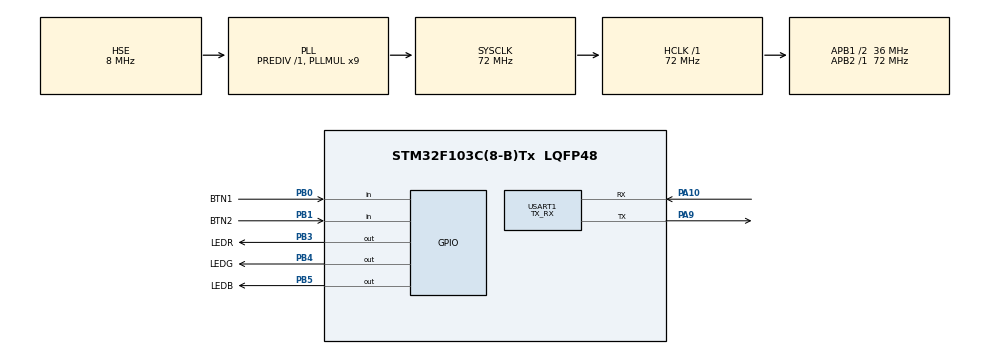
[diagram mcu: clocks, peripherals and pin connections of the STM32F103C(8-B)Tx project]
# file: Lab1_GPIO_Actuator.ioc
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Mcu.Family=STM32F1
Mcu.Name=STM32F103C(8-B)Tx
Mcu.Package=LQFP48
Mcu.UserConstants=led_TIM_counter,9
NVIC.FLASH_IRQn=true\:0\:0\:false\:false\:true\:true\:true\:true
NVIC.PriorityGroup=NVIC_PRIORITYGROUP_4
NVIC.TIM3_IRQn=true\:0\:0\:true\:false\:true\:true\:true\:true
NVIC.TIM4_IRQn=true\:0\:0\:true\:false\:true\:true\:true\:true
NVIC.USART1_IRQn=true\:0\:0\:true\:false\:true\:true\:true\:true
PA10.Mode=Asynchronous
PA10.Signal=USART1_RX
PA13.Mode=Serial_Wire
PA13.Signal=SYS_JTMS-SWDIO
PA14.Mode=Serial_Wire
PA14.Signal=SYS_JTCK-SWCLK
PA9.Mode=Asynchronous
PA9.Signal=USART1_TX
PB0.GPIO_Label=BTN1
PB0.GPIO_PuPd=GPIO_PULLUP
PB0.Signal=GPIO_Input
PB1.GPIO_Label=BTN2
PB1.GPIO_PuPd=GPIO_PULLUP
PB1.Signal=GPIO_Input
PB3.GPIO_Label=LEDR
PB3.GPIO_Speed=GPIO_SPEED_FREQ_HIGH
PB3.Signal=GPIO_Output
PB4.GPIO_Label=LEDG
PB4.GPIO_Speed=GPIO_SPEED_FREQ_HIGH
PB4.Signal=GPIO_Output
PB5.GPIO_Label=LEDB
PB5.GPIO_Speed=GPIO_SPEED_FREQ_HIGH
PB5.Signal=GPIO_Output
PD0-OSC_IN.Mode=HSE-External-Oscillator
PD0-OSC_IN.Signal=RCC_OSC_IN
PD1-OSC_OUT.Mode=HSE-External-Oscillator
PD1-OSC_OUT.Signal=RCC_OSC_OUT
ProjectManager.HeapSize=0x200
ProjectManager.StackSize=0x400
ProjectManager.TargetToolchain=STM32CubeIDE
RCC.AHBFreq_Value=72000000
RCC.APB1CLKDivider=RCC_HCLK_DIV2
RCC.APB1Freq_Value=36000000
RCC.APB1TimFreq_Value=72000000
RCC.APB2Freq_Value=72000000
RCC.APB2TimFreq_Value=72000000
RCC.HCLKFreq_Value=72000000
RCC.PLLMUL=RCC_PLL_MUL9
RCC.PLLSourceVirtual=RCC_PLLSOURCE_HSE
RCC.SYSCLKFreq_VALUE=72000000
RCC.SYSCLKSource=RCC_SYSCLKSOURCE_PLLCLK
RCC.USBFreq_Value=72000000
TIM3.AutoReloadPreload=TIM_AUTORELOAD_PRELOAD_ENABLE
TIM3.Period=led_TIM_counter
TIM3.Prescaler=3599
TIM4.AutoReloadPreload=TIM_AUTORELOAD_PRELOAD_ENABLE
TIM4.Period=led_TIM_counter
TIM4.Prescaler=3599
USART1.Mode=MODE_TX_RX
USART1.VirtualMode=VM_ASYNC
VP_TIM3_VS_ClockSourceINT.Mode=Internal
VP_TIM4_VS_ClockSourceINT.Mode=Internal
board=custom

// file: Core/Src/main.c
/* USER CODE BEGIN Header */
/**
  ******************************************************************************
  * @file           : main.c
  * @brief          : Main program body
  ******************************************************************************
  * @attention
  *
  * Copyright (c) 2023 STMicroelectronics.
  * All rights reserved.
  *
  * This software is licensed under terms that can be found in the LICENSE file
  * in the root directory of this software component.
  * If no LICENSE file comes with this software, it is provided AS-IS.
  *
  ******************************************************************************
  */
/* USER CODE END Header */
#include "main.h"

/* USER CODE BEGIN Includes */
#include "stdio.h"
#include "string.h"
#include "button.h"
//#include "led.h" - co the se co them thu vien LED
/* USER CODE END Includes */

/* USER CODE BEGIN PD */
//khai bao trang thai hieu ung led
typedef enum
{
	LED_BLINK_ORIGIN,
	LED_BLINK_SEQ,
	LED_BLINK_ALTER,
} Led_Effect_Status;
/* USER CODE END PD */

TIM_HandleTypeDef htim3;
TIM_HandleTypeDef htim4;

UART_HandleTypeDef huart1;

/* USER CODE BEGIN PV */
//---- button handle variable ----
Button_Typedef BTN1, BTN2;

//khai bao bien luu trang thai den
Led_Effect_Status led_eff_state;

//----- UART com debug variable -----
uint8_t Tx_Buffer[100]; //buffer truyen di chua gia tri chu ky hien tai cua LED + che do hien tai cua mode led effect
//---- led_time_cycle [min:max] variable + divine time (pwm)----
uint16_t max_cycle_led_time = 2000, min_cycle_led_time = 0;
uint16_t divine_time_val = 0; //bien dung de luu gia tri chia deu thoi gian hieu ung led (bam xung - pwm thu cong)

//---- Led counter effect variable -----
uint8_t count_led_alt = 0, count_led_seq = 0, count_led_blink = 0;
//---- Led counter effect variable -----
uint8_t long_press_detect = 0;
uint8_t cycle_change_mode = 0; //mode = 0: dec mode = 1 inc

//----timer count ----
uint16_t is_press_time_count = 0; //button press timer count (for longpress support purpose)
uint16_t led_timer_cnt = 0;		//timer count for led trasition time
//--------------------

/* USER CODE END PV */

void SystemClock_Config(void);
static void MX_GPIO_Init(void);
static void MX_USART1_UART_Init(void);
static void MX_TIM3_Init(void);
static void MX_TIM4_Init(void);
/* USER CODE BEGIN PFP */
void led_blink_origin(void); //effect 1
void led_blink_sequence(void); //effect 2
void led_blink_alternate(void); //effect 3

void button_shortpressing_callback_500ms(Button_Typedef *ButtonX);
void button_longpressing_callback_500ms(Button_Typedef *ButtonX);

void time_cycle_inc_callback(void);
void time_cycle_dec_callback(void);
/* USER CODE END PFP */

/* USER CODE BEGIN 0 */

void button_shortpressing_callback_500ms(Button_Typedef *ButtonX)
{
	if(ButtonX == &BTN1)
	{
		time_cycle_dec_callback();
	} else if (ButtonX == &BTN2)
	{
		switch(led_eff_state)
			{
				case LED_BLINK_ORIGIN:
					led_eff_state = LED_BLINK_SEQ;
				break;
				case LED_BLINK_SEQ:
					led_eff_state = LED_BLINK_ALTER;
				break;
				case LED_BLINK_ALTER:
					led_eff_state = LED_BLINK_ORIGIN;
				break;
			}
	}
}

void button_longpressing_callback_500ms(Button_Typedef *ButtonX)
{
	if(ButtonX == &BTN1){
		cycle_change_mode = 0;
		long_press_detect = ButtonX->is_long_press;
	} else if(ButtonX == &BTN2)
	{
		cycle_change_mode = 1;
		long_press_detect = ButtonX->is_long_press;
	}
}

void time_cycle_inc_callback(void)
{
	if(max_cycle_led_time == 2000)
	{
		max_cycle_led_time = 0;
	}
	max_cycle_led_time += 100;
}

void time_cycle_dec_callback(void)
{
	if(max_cycle_led_time == 0)
	{
		max_cycle_led_time = 2000;
	}
	max_cycle_led_time -= 100;
}

void led_blink_origin(void) //Callib fnc
{
	if(count_led_blink == 0){
		HAL_GPIO_WritePin(GPIOB, GPIO_PIN_3, GPIO_PIN_SET);
		HAL_GPIO_WritePin(GPIOB, GPIO_PIN_4, GPIO_PIN_SET);
		HAL_GPIO_WritePin(GPIOB, GPIO_PIN_5, GPIO_PIN_SET);
		count_led_blink = 1;
	} else if (count_led_blink == 1){
		HAL_GPIO_WritePin(GPIOB, GPIO_PIN_3, GPIO_PIN_RESET);
		HAL_GPIO_WritePin(GPIOB, GPIO_PIN_4, GPIO_PIN_RESET);
		HAL_GPIO_WritePin(GPIOB, GPIO_PIN_5, GPIO_PIN_RESET);
		count_led_blink = 0;
	}
}

void led_blink_sequence(void) //Callib fnc
{
	if(count_led_seq == 0)
	{
		HAL_GPIO_WritePin(GPIOB, GPIO_PIN_3, GPIO_PIN_SET);
		HAL_GPIO_WritePin(GPIOB, GPIO_PIN_4, GPIO_PIN_SET);
		HAL_GPIO_WritePin(GPIOB, GPIO_PIN_5, GPIO_PIN_SET);
		count_led_seq = 1;
	} else if(count_led_seq == 1)
	{
		HAL_GPIO_WritePin(GPIOB, GPIO_PIN_3, GPIO_PIN_RESET);
		HAL_GPIO_WritePin(GPIOB, GPIO_PIN_4, GPIO_PIN_SET);
		HAL_GPIO_WritePin(GPIOB, GPIO_PIN_5, GPIO_PIN_SET);
		count_led_seq = 2;
	} else if (count_led_seq == 2)
	{
		HAL_GPIO_WritePin(GPIOB, GPIO_PIN_3, GPIO_PIN_RESET);
		HAL_GPIO_WritePin(GPIOB, GPIO_PIN_4, GPIO_PIN_RESET);
		HAL_GPIO_WritePin(GPIOB, GPIO_PIN_5, GPIO_PIN_SET);
		count_led_seq = 3;
	} else if (count_led_seq == 3)
	{
		HAL_GPIO_WritePin(GPIOB, GPIO_PIN_3, GPIO_PIN_RESET);
		HAL_GPIO_WritePin(GPIOB, GPIO_PIN_4, GPIO_PIN_RESET);
		HAL_GPIO_WritePin(GPIOB, GPIO_PIN_5, GPIO_PIN_RESET);
		count_led_seq = 0;
	}
}

void led_blink_alternate(void) //Callib fnc
{
	if(count_led_alt == 0)
	{
		HAL_GPIO_WritePin(GPIOB, GPIO_PIN_3,GPIO_PIN_SET); //off
		HAL_GPIO_WritePin(GPIOB, GPIO_PIN_4,GPIO_PIN_RESET); //on
		HAL_GPIO_WritePin(GPIOB, GPIO_PIN_5,GPIO_PIN_SET); //off
		count_led_alt = 1;
	} else if (count_led_alt == 1)
	{
		HAL_GPIO_WritePin(GPIOB, GPIO_PIN_3,GPIO_PIN_RESET); //on
		HAL_GPIO_WritePin(GPIOB, GPIO_PIN_4,GPIO_PIN_SET); //off
		HAL_GPIO_WritePin(GPIOB, GPIO_PIN_5,GPIO_PIN_RESET); //on
		count_led_alt = 0;
	}
}

/* USER CODE END 0 */

int main(void)
{

  /* MCU Configuration--------------------------------------------------------*/

  /* Reset of all peripherals, Initializes the Flash interface and the Systick. */
   HAL_Init();

  /* Configure the system clock */
  SystemClock_Config();

  /* Initialize all configured peripherals */
  MX_GPIO_Init();
  MX_USART1_UART_Init();
  MX_TIM3_Init();
  MX_TIM4_Init();
  /* USER CODE BEGIN 2 */
  led_eff_state = LED_BLINK_ORIGIN; //ke tu luc chuong trinh bat dau se vao hieu ung blink led

  button_Init(&BTN1, GPIOB, GPIO_PIN_0); //BTN1
  button_Init(&BTN2, GPIOB,GPIO_PIN_1); //BTN2
  HAL_TIM_Base_Start_IT(&htim3);
  HAL_TIM_Base_Start_IT(&htim4);
  /* USER CODE END 2 */

  /* Infinite loop */
  /* USER CODE BEGIN WHILE */
  while (1)
  {
	//----- Phan code test debug UART gui den man hinh OLED (Uncomment 4 lines below to debug) ----
	//memset(Tx_Buffer,0,sizeof(Tx_Buffer)); //clear buffer before write
	//sprintf((char*)Tx_Buffer,"\nCYCLE:%u\nMODE:%u",max_cycle_led_time,led_eff_state);
	//HAL_UART_Transmit(&huart1,Tx_Buffer,sizeof(Tx_Buffer), 10);
	//HAL_Delay(50);
	//----- Phan code test debug UART gui den man hinh OLED -----
	button_handle(&BTN1);
	button_handle(&BTN2);

    /* USER CODE END WHILE */

  }
}

void SystemClock_Config(void)
{
  RCC_OscInitTypeDef RCC_OscInitStruct = {0};
  RCC_ClkInitTypeDef RCC_ClkInitStruct = {0};

  /** Initializes the RCC Oscillators according to the specified parameters
  * in the RCC_OscInitTypeDef structure.
  */
  RCC_OscInitStruct.OscillatorType = RCC_OSCILLATORTYPE_HSE;
  RCC_OscInitStruct.HSEState = RCC_HSE_ON;
  RCC_OscInitStruct.HSEPredivValue = RCC_HSE_PREDIV_DIV1;
  RCC_OscInitStruct.HSIState = RCC_HSI_ON;
  RCC_OscInitStruct.PLL.PLLState = RCC_PLL_ON;
  RCC_OscInitStruct.PLL.PLLSource = RCC_PLLSOURCE_HSE;
  RCC_OscInitStruct.PLL.PLLMUL = RCC_PLL_MUL9;
  if (HAL_RCC_OscConfig(&RCC_OscInitStruct) != HAL_OK)
  {
    Error_Handler();
  }

  /** Initializes the CPU, AHB and APB buses clocks
  */
  RCC_ClkInitStruct.ClockType = RCC_CLOCKTYPE_HCLK|RCC_CLOCKTYPE_SYSCLK
                              |RCC_CLOCKTYPE_PCLK1|RCC_CLOCKTYPE_PCLK2;
  RCC_ClkInitStruct.SYSCLKSource = RCC_SYSCLKSOURCE_PLLCLK;
  RCC_ClkInitStruct.AHBCLKDivider = RCC_SYSCLK_DIV1;
  RCC_ClkInitStruct.APB1CLKDivider = RCC_HCLK_DIV2;
  RCC_ClkInitStruct.APB2CLKDivider = RCC_HCLK_DIV1;

  if (HAL_RCC_ClockConfig(&RCC_ClkInitStruct, FLASH_LATENCY_2) != HAL_OK)
  {
    Error_Handler();
  }
}

static void MX_TIM3_Init(void)
{

  TIM_ClockConfigTypeDef sClockSourceConfig = {0};
  TIM_MasterConfigTypeDef sMasterConfig = {0};

  htim3.Instance = TIM3;
  htim3.Init.Prescaler = 3599;
  htim3.Init.CounterMode = TIM_COUNTERMODE_UP;
  htim3.Init.Period = led_TIM_counter;
  htim3.Init.ClockDivision = TIM_CLOCKDIVISION_DIV1;
  htim3.Init.AutoReloadPreload = TIM_AUTORELOAD_PRELOAD_ENABLE;
  if (HAL_TIM_Base_Init(&htim3) != HAL_OK)
  {
    Error_Handler();
  }
  sClockSourceConfig.ClockSource = TIM_CLOCKSOURCE_INTERNAL;
  if (HAL_TIM_ConfigClockSource(&htim3, &sClockSourceConfig) != HAL_OK)
  {
    Error_Handler();
  }
  sMasterConfig.MasterOutputTrigger = TIM_TRGO_RESET;
  sMasterConfig.MasterSlaveMode = TIM_MASTERSLAVEMODE_DISABLE;
  if (HAL_TIMEx_MasterConfigSynchronization(&htim3, &sMasterConfig) != HAL_OK)
  {
    Error_Handler();
  }

}

static void MX_TIM4_Init(void)
{

  TIM_ClockConfigTypeDef sClockSourceConfig = {0};
  TIM_MasterConfigTypeDef sMasterConfig = {0};

  htim4.Instance = TIM4;
  htim4.Init.Prescaler = 3599;
  htim4.Init.CounterMode = TIM_COUNTERMODE_UP;
  htim4.Init.Period = led_TIM_counter;
  htim4.Init.ClockDivision = TIM_CLOCKDIVISION_DIV1;
  htim4.Init.AutoReloadPreload = TIM_AUTORELOAD_PRELOAD_ENABLE;
  if (HAL_TIM_Base_Init(&htim4) != HAL_OK)
  {
    Error_Handler();
  }
  sClockSourceConfig.ClockSource = TIM_CLOCKSOURCE_INTERNAL;
  if (HAL_TIM_ConfigClockSource(&htim4, &sClockSourceConfig) != HAL_OK)
  {
    Error_Handler();
  }
  sMasterConfig.MasterOutputTrigger = TIM_TRGO_RESET;
  sMasterConfig.MasterSlaveMode = TIM_MASTERSLAVEMODE_DISABLE;
  if (HAL_TIMEx_MasterConfigSynchronization(&htim4, &sMasterConfig) != HAL_OK)
  {
    Error_Handler();
  }

}

static void MX_USART1_UART_Init(void)
{

  huart1.Instance = USART1;
  huart1.Init.BaudRate = 115200;
  huart1.Init.WordLength = UART_WORDLENGTH_8B;
  huart1.Init.StopBits = UART_STOPBITS_1;
  huart1.Init.Parity = UART_PARITY_NONE;
  huart1.Init.Mode = UART_MODE_TX_RX;
  huart1.Init.HwFlowCtl = UART_HWCONTROL_NONE;
  huart1.Init.OverSampling = UART_OVERSAMPLING_16;
  if (HAL_UART_Init(&huart1) != HAL_OK)
  {
    Error_Handler();
  }

}

static void MX_GPIO_Init(void)
{
  GPIO_InitTypeDef GPIO_InitStruct = {0};

  /* GPIO Ports Clock Enable */
  __HAL_RCC_GPIOD_CLK_ENABLE();
  __HAL_RCC_GPIOB_CLK_ENABLE();
  __HAL_RCC_GPIOA_CLK_ENABLE();

  /*Configure GPIO pin Output Level */
  HAL_GPIO_WritePin(GPIOB, LEDR_Pin|LEDG_Pin|LEDB_Pin, GPIO_PIN_RESET);

  /*Configure GPIO pins : BTN1_Pin BTN2_Pin */
  GPIO_InitStruct.Pin = BTN1_Pin|BTN2_Pin;
  GPIO_InitStruct.Mode = GPIO_MODE_INPUT;
  GPIO_InitStruct.Pull = GPIO_PULLUP;
  HAL_GPIO_Init(GPIOB, &GPIO_InitStruct);

  /*Configure GPIO pins : LEDR_Pin LEDG_Pin LEDB_Pin */
  GPIO_InitStruct.Pin = LEDR_Pin|LEDG_Pin|LEDB_Pin;
  GPIO_InitStruct.Mode = GPIO_MODE_OUTPUT_PP;
  GPIO_InitStruct.Pull = GPIO_NOPULL;
  GPIO_InitStruct.Speed = GPIO_SPEED_FREQ_HIGH;
  HAL_GPIO_Init(GPIOB, &GPIO_InitStruct);

}

/* USER CODE BEGIN 4 */
void HAL_TIM_PeriodElapsedCallback(TIM_HandleTypeDef *htim) //!WARNING: Don't change
{
	if(htim == &htim3) //behavior led function timer
	{
		if(led_timer_cnt > max_cycle_led_time)
		{
			led_timer_cnt = 0; //reset timer when timer over counter value
		} //handle for overflow timer case - temporary solution
		else {
			led_timer_cnt++;
			if(max_cycle_led_time > 0)
			{
				switch(led_eff_state)
				{
					case LED_BLINK_ORIGIN:
					{
						divine_time_val = max_cycle_led_time / 2;
						if(led_timer_cnt == divine_time_val){
							led_blink_origin();
							led_timer_cnt = 0;
						}
					break;
					}
					case LED_BLINK_SEQ:
					{
						divine_time_val = max_cycle_led_time / 4;
						if(led_timer_cnt == divine_time_val){
							led_blink_sequence();
							led_timer_cnt = 0;
						}
						break;
					}
					case LED_BLINK_ALTER:
					{
						divine_time_val = max_cycle_led_time / 2;
						if(led_timer_cnt == divine_time_val){
							led_blink_alternate();
							led_timer_cnt = 0;
						}
						break;
					}
					default:
						break;
				}
			} else if(max_cycle_led_time == 0)
			{
				max_cycle_led_time = 2000; //neu chu ky bi nut bam tuong tac giam ve 0 thi reset lai thoi gian chu ky
			}
		}
	}
	if(htim == &htim4 && long_press_detect == 1)
	{
		if(is_press_time_count++ == 200)
		{
			is_press_time_count = 0;
			if(cycle_change_mode == 0) {
				time_cycle_dec_callback();
			} else if(cycle_change_mode == 1){
				time_cycle_inc_callback();
			}
		}
	}
}

/* USER CODE END 4 */

void Error_Handler(void)
{
  __disable_irq();
  while (1)
  {
  }
}
